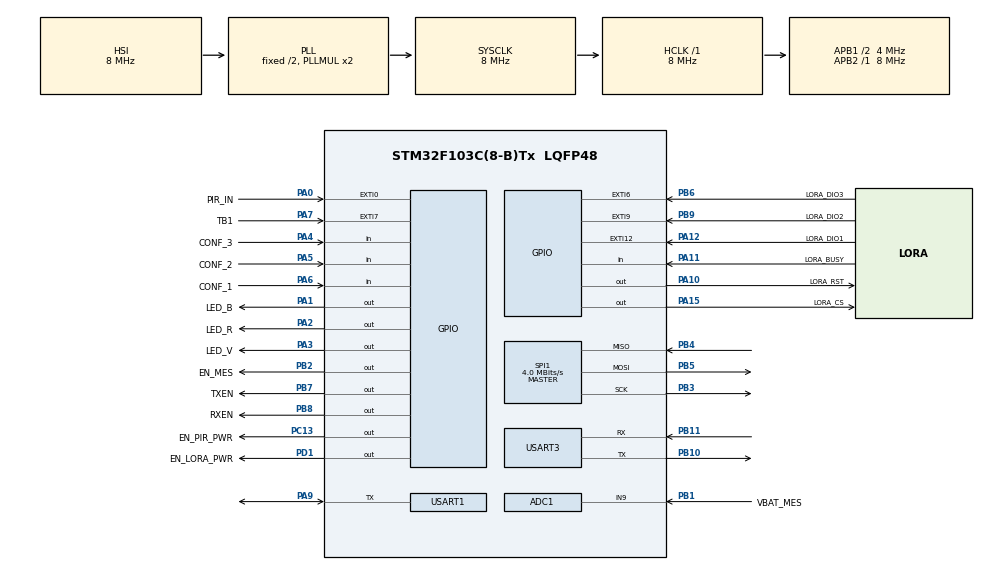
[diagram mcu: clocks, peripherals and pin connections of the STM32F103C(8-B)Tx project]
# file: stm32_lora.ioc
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ADC1.Channel-3\#ChannelRegularConversion=ADC_CHANNEL_9
ADC1.NbrOfConversionFlag=1
ADC1.Rank-3\#ChannelRegularConversion=1
ADC1.SamplingTime-3\#ChannelRegularConversion=ADC_SAMPLETIME_1CYCLE_5
ADC1.master=1
FREERTOS.Events01=eventFlag,Static,myEvent01ControlBlock
FREERTOS.Queues01=myQueue01,16,uint16_t,0,Dynamic,NULL,NULL
FREERTOS.Tasks01=app,24,128,AppTask,Default,NULL,Dynamic,NULL,NULL;radio,8,256,RadioTask,Default,NULL,Dynamic,NULL,NULL
FREERTOS.configUSE_NEWLIB_REENTRANT=1
Mcu.Family=STM32F1
Mcu.Name=STM32F103C(8-B)Tx
Mcu.Package=LQFP48
NVIC.EXTI0_IRQn=true\:5\:0\:false\:false\:true\:true\:true\:true\:true
NVIC.EXTI15_10_IRQn=true\:5\:0\:false\:false\:true\:true\:true\:true\:true
NVIC.EXTI9_5_IRQn=true\:5\:0\:false\:false\:true\:true\:true\:true\:true
NVIC.PriorityGroup=NVIC_PRIORITYGROUP_4
NVIC.RTC_IRQn=true\:5\:0\:false\:false\:true\:true\:true\:true\:true
NVIC.SPI1_IRQn=true\:5\:0\:false\:false\:true\:true\:true\:true\:true
NVIC.TIM4_IRQn=true\:15\:0\:false\:false\:true\:false\:false\:true\:true
NVIC.TimeBase=TIM4_IRQn
NVIC.TimeBaseIP=TIM4
NVIC.USART3_IRQn=true\:5\:0\:false\:false\:true\:true\:true\:true\:true
PA0-WKUP.GPIO_Label=PIR_IN
PA0-WKUP.Signal=GPXTI0
PA1.GPIO_Label=LED_B
PA1.GPIO_ModeDefaultOutputPP=GPIO_MODE_OUTPUT_OD
PA1.GPIO_PuPd=GPIO_NOPULL
PA1.PinState=GPIO_PIN_SET
PA1.Signal=GPIO_Output
PA10.GPIO_Label=LORA_RST
PA10.GPIO_ModeDefaultOutputPP=GPIO_MODE_OUTPUT_OD
PA10.GPIO_PuPd=GPIO_NOPULL
PA10.Signal=GPIO_Output
PA11.GPIO_Label=LORA_BUSY
PA11.Signal=GPIO_Input
PA12.GPIO_Label=LORA_DIO1
PA12.GPIO_ModeDefaultEXTI=GPIO_MODE_IT_RISING
PA12.GPIO_PuPd=GPIO_PULLUP
PA12.Signal=GPXTI12
PA13.Mode=Serial_Wire
PA13.Signal=SYS_JTMS-SWDIO
PA14.Mode=Serial_Wire
PA14.Signal=SYS_JTCK-SWCLK
PA15.GPIO_Label=LORA_CS
PA15.Signal=GPIO_Output
PA2.GPIO_Label=LED_R
PA2.GPIO_ModeDefaultOutputPP=GPIO_MODE_OUTPUT_OD
PA2.GPIO_PuPd=GPIO_NOPULL
PA2.PinState=GPIO_PIN_SET
PA2.Signal=GPIO_Output
PA3.GPIO_Label=LED_V
PA3.GPIO_ModeDefaultOutputPP=GPIO_MODE_OUTPUT_OD
PA3.GPIO_PuPd=GPIO_NOPULL
PA3.PinState=GPIO_PIN_SET
PA3.Signal=GPIO_Output
PA4.GPIO_Label=CONF_3
PA4.GPIO_PuPd=GPIO_PULLUP
PA4.Signal=GPIO_Input
PA5.GPIO_Label=CONF_2
PA5.GPIO_PuPd=GPIO_PULLUP
PA5.Signal=GPIO_Input
PA6.GPIO_Label=CONF_1
PA6.Signal=GPIO_Input
PA7.GPIO_Label=TB1
PA7.Signal=GPXTI7
PA9.Mode=Half_duplex(single_wire_mode)
PA9.Signal=USART1_TX
PB1.GPIO_Label=VBAT_MES
PB1.Signal=ADCx_IN9
PB10.Mode=Asynchronous
PB10.Signal=USART3_TX
PB11.Mode=Asynchronous
PB11.Signal=USART3_RX
PB2.GPIO_Label=EN_MES
PB2.Signal=GPIO_Output
PB3.Mode=Full_Duplex_Master
PB3.Signal=SPI1_SCK
PB4.Mode=Full_Duplex_Master
PB4.Signal=SPI1_MISO
PB5.Mode=Full_Duplex_Master
PB5.Signal=SPI1_MOSI
PB6.GPIO_Label=LORA_DIO3
PB6.GPIO_PuPd=GPIO_PULLUP
PB6.Signal=GPXTI6
PB7.GPIO_Label=TXEN
PB7.Signal=GPIO_Output
PB8.GPIO_Label=RXEN
PB8.Signal=GPIO_Output
PB9.GPIO_Label=LORA_DIO2
PB9.GPIO_PuPd=GPIO_PULLUP
PB9.Signal=GPXTI9
PC13-TAMPER-RTC.GPIO_Label=EN_PIR_PWR
PC13-TAMPER-RTC.Signal=GPIO_Output
PC14-OSC32_IN.Mode=LSE-External-Oscillator
PC14-OSC32_IN.Signal=RCC_OSC32_IN
PC15-OSC32_OUT.Mode=LSE-External-Oscillator
PC15-OSC32_OUT.Signal=RCC_OSC32_OUT
PD1-OSC_OUT.GPIO_Label=EN_LORA_PWR
PD1-OSC_OUT.Signal=GPIO_Output
ProjectManager.HeapSize=0x200
ProjectManager.StackSize=0x400
ProjectManager.TargetToolchain=STM32CubeIDE
RCC.AHBFreq_Value=8000000
RCC.APB1CLKDivider=RCC_HCLK_DIV2
RCC.APB1Freq_Value=4000000
RCC.APB1TimFreq_Value=8000000
RCC.APB2Freq_Value=8000000
RCC.APB2TimFreq_Value=8000000
RCC.HCLKFreq_Value=8000000
RCC.RTCClockSelection=RCC_RTCCLKSOURCE_LSE
RCC.SYSCLKFreq_VALUE=8000000
RCC.SYSCLKSource=RCC_SYSCLKSOURCE_PLLCLK
RCC.USBFreq_Value=8000000
SH.ADCx_IN9.0=ADC1_IN9,IN9
SPI1.BaudRatePrescaler=SPI_BAUDRATEPRESCALER_2
SPI1.CalculateBaudRate=4.0 MBits/s
SPI1.Direction=SPI_DIRECTION_2LINES
SPI1.Mode=SPI_MODE_MASTER
SPI1.VirtualType=VM_MASTER
USART1.VirtualMode=VM_ASYNC
USART3.VirtualMode=VM_ASYNC
VP_FREERTOS_VS_CMSIS_V2.Mode=CMSIS_V2
VP_RTC_No_RTC_Output.Mode=RTC_OUT_NO
VP_RTC_VS_RTC_Activate.Mode=RTC_Enabled
VP_RTC_VS_RTC_Calendar.Mode=RTC_Calendar
VP_SYS_VS_tim4.Mode=TIM4
board=custom

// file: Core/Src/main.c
/* USER CODE BEGIN Header */
/**
  ******************************************************************************
  * @file           : main.c
  * @brief          : Main program body
  ******************************************************************************
  * @attention
  *
  * Copyright (c) 2024 STMicroelectronics.
  * All rights reserved.
  *
  * This software is licensed under terms that can be found in the LICENSE file
  * in the root directory of this software component.
  * If no LICENSE file comes with this software, it is provided AS-IS.
  *
  ******************************************************************************
  */
/* USER CODE END Header */
#include "main.h"
#include "cmsis_os.h"

/* USER CODE BEGIN Includes */
#include <stdlib.h>
#include "stdbool.h"
#include "printf.h"
#include "bsp.h"
#include "main.h"
#include "lora_transceiver.h"
/* USER CODE END Includes */

typedef StaticEventGroup_t osStaticEventGroupDef_t;

/* USER CODE BEGIN PD */
#define BUILD_TIME                  __TIME__
#define RX_BUFFER_SIZE              128

/* USER CODE END PD */

ADC_HandleTypeDef hadc1;

RTC_HandleTypeDef hrtc;

SPI_HandleTypeDef hspi1;

UART_HandleTypeDef huart1;
UART_HandleTypeDef huart3;

/* Definitions for app */
osThreadId_t appHandle;
const osThreadAttr_t app_attributes = {
  .name = "app",
  .stack_size = 128 * 4,
  .priority = (osPriority_t) osPriorityNormal,
};
/* Definitions for radio */
osThreadId_t radioHandle;
const osThreadAttr_t radio_attributes = {
  .name = "radio",
  .stack_size = 256 * 4,
  .priority = (osPriority_t) osPriorityLow,
};
/* Definitions for myQueue01 */
osMessageQueueId_t loraQueueHandle;
const osMessageQueueAttr_t myQueue01_attributes = {
  .name = "myQueue01"
};
/* Definitions for eventFlag */
osEventFlagsId_t eventFlagHandle;
osStaticEventGroupDef_t myEvent01ControlBlock;
const osEventFlagsAttr_t eventFlag_attributes = {
  .name = "eventFlag",
  .cb_mem = &myEvent01ControlBlock,
  .cb_size = sizeof(myEvent01ControlBlock),
};
/* USER CODE BEGIN PV */
static uint8_t rxBuffer[RX_BUFFER_SIZE];
static volatile bool uartEventFlag = false;
static volatile bool secondFlag = false;
static volatile bool minFlag = false;
static volatile uint16_t size = 0;
static RTC_DateTypeDef date;
static RTC_TimeTypeDef time;
/* USER CODE END PV */

void SystemClock_Config(void);
static void MX_GPIO_Init(void);
static void MX_RTC_Init(void);
static void MX_SPI1_Init(void);
static void MX_ADC1_Init(void);
static void MX_USART3_UART_Init(void);
static void MX_USART1_UART_Init(void);
void AppTask(void *argument);
void RadioTask(void *argument);

/* USER CODE BEGIN PFP */
void _putchar(char character)
{
    // send char to console etc.
    HAL_UART_Transmit(&huart3,(uint8_t *)&character,1,HAL_MAX_DELAY);
}
/* USER CODE END PFP */

int main(void)
{
  /* USER CODE BEGIN 1 */
  uint8_t hour,min,second;
  uint8_t numbers[3];
  numbers[2] = '\0';

  /* USER CODE END 1 */

  /* MCU Configuration--------------------------------------------------------*/

  /* Reset of all peripherals, Initializes the Flash interface and the Systick. */
  HAL_Init();

  /* Configure the system clock */
  SystemClock_Config();

  /* Initialize all configured peripherals */
  MX_GPIO_Init();
  MX_RTC_Init();
  MX_SPI1_Init();
  MX_ADC1_Init();
  MX_USART3_UART_Init();
  MX_USART1_UART_Init();
  /* USER CODE BEGIN 2 */
  printf_("Start lora test application %s\n",BUILD_TIME);
  numbers[0] = BUILD_TIME[0];
  numbers[1] = BUILD_TIME[1];
  time.Hours = atoi(numbers);
  numbers[0] = BUILD_TIME[3];
  numbers[1] = BUILD_TIME[4];
  time.Minutes = atoi(numbers);
  numbers[0] = BUILD_TIME[6];
  numbers[1] = BUILD_TIME[7];
  time.Seconds = atoi(numbers);
  //scanf(BUILD_TIME,"%hhu:%hhu:%hhu",&time.Hours,&time.Minutes,&time.Seconds);
  HAL_RTC_SetTime(&hrtc,&time,RTC_FORMAT_BIN);
  HAL_RTCEx_SetSecond_IT(&hrtc);

  printf_("%u:%u:%u\n",time.Hours,time.Minutes,time.Seconds);
    LED_B(LED_ON);
    HAL_Delay(100); // Bleu
    LED_G(LED_ON);
    HAL_Delay(100); // turquoise
    LED_B(LED_OFF);
    HAL_Delay(100); // Vert
    LED_R(LED_ON);
    HAL_Delay(100); // Orange
    LED_G(LED_OFF);
    HAL_Delay(100); // Rouge
    LED_B(LED_ON);
    HAL_Delay(100); // Rose
    LED_G(LED_ON); // blanc
    HAL_Delay(100); // Rose
    LED_G(LED_OFF);
    LED_B(LED_OFF);
    LED_R(LED_OFF);

    //HAL_GPIO_WritePin(TXEN_GPIO_Port,TXEN_Pin,GPIO_PIN_SET);
    //HAL_GPIO_WritePin(RXEN_GPIO_Port,RXEN_Pin,GPIO_PIN_RESET);

  /* USER CODE END 2 */

  /* Init scheduler */
  osKernelInitialize();

  /* Create the queue(s) */
  /* creation of myQueue01 */
    loraQueueHandle = osMessageQueueNew (16, sizeof(uint8_t)*32, &myQueue01_attributes);

  /* Create the thread(s) */
  /* creation of app */
  appHandle = osThreadNew(AppTask, NULL, &app_attributes);

  /* creation of radio */
  radioHandle = osThreadNew(lora_task, NULL, &radio_attributes);

  /* Create the event(s) */
  /* creation of eventFlag */
  eventFlagHandle = osEventFlagsNew(&eventFlag_attributes);

  /* Start scheduler */
  osKernelStart();

  /* We should never get here as control is now taken by the scheduler */
  /* Infinite loop */
  /* USER CODE BEGIN WHILE */

  HAL_Delay(500);
  message_t message;

  while (1)
  {
      if(uartEventFlag == true)
      {
          uartEventFlag = false;
          HAL_RTC_GetTime(&hrtc,&time,RTC_FORMAT_BIN);
          rxBuffer[size] = '\0';
          size = 0;
          printf_("%s %u:%u:%u\n",rxBuffer,time.Hours,time.Minutes,time.Seconds);
          //HAL_GPIO_WritePin(LED_V_GPIO_Port,LED_V_Pin,GPIO_PIN_RESET);
          HAL_Delay(500);
      }

    /* USER CODE END WHILE */

  }
}

void SystemClock_Config(void)
{
  RCC_OscInitTypeDef RCC_OscInitStruct = {0};
  RCC_ClkInitTypeDef RCC_ClkInitStruct = {0};
  RCC_PeriphCLKInitTypeDef PeriphClkInit = {0};

  /** Initializes the RCC Oscillators according to the specified parameters
  * in the RCC_OscInitTypeDef structure.
  */
  RCC_OscInitStruct.OscillatorType = RCC_OSCILLATORTYPE_HSI|RCC_OSCILLATORTYPE_LSE;
  RCC_OscInitStruct.LSEState = RCC_LSE_ON;
  RCC_OscInitStruct.HSIState = RCC_HSI_ON;
  RCC_OscInitStruct.HSICalibrationValue = RCC_HSICALIBRATION_DEFAULT;
  RCC_OscInitStruct.PLL.PLLState = RCC_PLL_ON;
  RCC_OscInitStruct.PLL.PLLSource = RCC_PLLSOURCE_HSI_DIV2;
  RCC_OscInitStruct.PLL.PLLMUL = RCC_PLL_MUL2;
  if (HAL_RCC_OscConfig(&RCC_OscInitStruct) != HAL_OK)
  {
    Error_Handler();
  }

  /** Initializes the CPU, AHB and APB buses clocks
  */
  RCC_ClkInitStruct.ClockType = RCC_CLOCKTYPE_HCLK|RCC_CLOCKTYPE_SYSCLK
                              |RCC_CLOCKTYPE_PCLK1|RCC_CLOCKTYPE_PCLK2;
  RCC_ClkInitStruct.SYSCLKSource = RCC_SYSCLKSOURCE_PLLCLK;
  RCC_ClkInitStruct.AHBCLKDivider = RCC_SYSCLK_DIV1;
  RCC_ClkInitStruct.APB1CLKDivider = RCC_HCLK_DIV2;
  RCC_ClkInitStruct.APB2CLKDivider = RCC_HCLK_DIV1;

  if (HAL_RCC_ClockConfig(&RCC_ClkInitStruct, FLASH_LATENCY_0) != HAL_OK)
  {
    Error_Handler();
  }
  PeriphClkInit.PeriphClockSelection = RCC_PERIPHCLK_RTC|RCC_PERIPHCLK_ADC;
  PeriphClkInit.RTCClockSelection = RCC_RTCCLKSOURCE_LSE;
  PeriphClkInit.AdcClockSelection = RCC_ADCPCLK2_DIV2;
  if (HAL_RCCEx_PeriphCLKConfig(&PeriphClkInit) != HAL_OK)
  {
    Error_Handler();
  }
}

static void MX_ADC1_Init(void)
{

  ADC_ChannelConfTypeDef sConfig = {0};

  /** Common config
  */
  hadc1.Instance = ADC1;
  hadc1.Init.ScanConvMode = ADC_SCAN_DISABLE;
  hadc1.Init.ContinuousConvMode = DISABLE;
  hadc1.Init.DiscontinuousConvMode = DISABLE;
  hadc1.Init.ExternalTrigConv = ADC_SOFTWARE_START;
  hadc1.Init.DataAlign = ADC_DATAALIGN_RIGHT;
  hadc1.Init.NbrOfConversion = 1;
  if (HAL_ADC_Init(&hadc1) != HAL_OK)
  {
    Error_Handler();
  }

  /** Configure Regular Channel
  */
  sConfig.Channel = ADC_CHANNEL_9;
  sConfig.Rank = ADC_REGULAR_RANK_1;
  sConfig.SamplingTime = ADC_SAMPLETIME_1CYCLE_5;
  if (HAL_ADC_ConfigChannel(&hadc1, &sConfig) != HAL_OK)
  {
    Error_Handler();
  }

}

static void MX_RTC_Init(void)
{

  RTC_TimeTypeDef sTime = {0};
  RTC_DateTypeDef DateToUpdate = {0};

  /** Initialize RTC Only
  */
  hrtc.Instance = RTC;
  hrtc.Init.AsynchPrediv = RTC_AUTO_1_SECOND;
  hrtc.Init.OutPut = RTC_OUTPUTSOURCE_NONE;
  if (HAL_RTC_Init(&hrtc) != HAL_OK)
  {
    Error_Handler();
  }

  /** Initialize RTC and set the Time and Date
  */
  sTime.Hours = 0x0;
  sTime.Minutes = 0x0;
  sTime.Seconds = 0x0;

  if (HAL_RTC_SetTime(&hrtc, &sTime, RTC_FORMAT_BCD) != HAL_OK)
  {
    Error_Handler();
  }
  DateToUpdate.WeekDay = RTC_WEEKDAY_MONDAY;
  DateToUpdate.Month = RTC_MONTH_JANUARY;
  DateToUpdate.Date = 0x1;
  DateToUpdate.Year = 0x0;

  if (HAL_RTC_SetDate(&hrtc, &DateToUpdate, RTC_FORMAT_BCD) != HAL_OK)
  {
    Error_Handler();
  }

}

static void MX_SPI1_Init(void)
{

  /* SPI1 parameter configuration*/
  hspi1.Instance = SPI1;
  hspi1.Init.Mode = SPI_MODE_MASTER;
  hspi1.Init.Direction = SPI_DIRECTION_2LINES;
  hspi1.Init.DataSize = SPI_DATASIZE_8BIT;
  hspi1.Init.CLKPolarity = SPI_POLARITY_LOW;
  hspi1.Init.CLKPhase = SPI_PHASE_1EDGE;
  hspi1.Init.NSS = SPI_NSS_SOFT;
  hspi1.Init.BaudRatePrescaler = SPI_BAUDRATEPRESCALER_2;
  hspi1.Init.FirstBit = SPI_FIRSTBIT_MSB;
  hspi1.Init.TIMode = SPI_TIMODE_DISABLE;
  hspi1.Init.CRCCalculation = SPI_CRCCALCULATION_DISABLE;
  hspi1.Init.CRCPolynomial = 10;
  if (HAL_SPI_Init(&hspi1) != HAL_OK)
  {
    Error_Handler();
  }

}

static void MX_USART1_UART_Init(void)
{

  huart1.Instance = USART1;
  huart1.Init.BaudRate = 115200;
  huart1.Init.WordLength = UART_WORDLENGTH_8B;
  huart1.Init.StopBits = UART_STOPBITS_1;
  huart1.Init.Parity = UART_PARITY_NONE;
  huart1.Init.Mode = UART_MODE_TX_RX;
  huart1.Init.HwFlowCtl = UART_HWCONTROL_NONE;
  huart1.Init.OverSampling = UART_OVERSAMPLING_16;
  if (HAL_HalfDuplex_Init(&huart1) != HAL_OK)
  {
    Error_Handler();
  }

}

static void MX_USART3_UART_Init(void)
{

  huart3.Instance = USART3;
  huart3.Init.BaudRate = 115200;
  huart3.Init.WordLength = UART_WORDLENGTH_8B;
  huart3.Init.StopBits = UART_STOPBITS_1;
  huart3.Init.Parity = UART_PARITY_NONE;
  huart3.Init.Mode = UART_MODE_TX_RX;
  huart3.Init.HwFlowCtl = UART_HWCONTROL_NONE;
  huart3.Init.OverSampling = UART_OVERSAMPLING_16;
  if (HAL_UART_Init(&huart3) != HAL_OK)
  {
    Error_Handler();
  }

}

static void MX_GPIO_Init(void)
{
  GPIO_InitTypeDef GPIO_InitStruct = {0};

  /* GPIO Ports Clock Enable */
  __HAL_RCC_GPIOC_CLK_ENABLE();
  __HAL_RCC_GPIOD_CLK_ENABLE();
  __HAL_RCC_GPIOA_CLK_ENABLE();
  __HAL_RCC_GPIOB_CLK_ENABLE();

  /*Configure GPIO pin Output Level */
  HAL_GPIO_WritePin(EN_PIR_PWR_GPIO_Port, EN_PIR_PWR_Pin, GPIO_PIN_RESET);

  /*Configure GPIO pin Output Level */
  HAL_GPIO_WritePin(EN_LORA_PWR_GPIO_Port, EN_LORA_PWR_Pin, GPIO_PIN_RESET);

  /*Configure GPIO pin Output Level */
  HAL_GPIO_WritePin(GPIOA, LED_B_Pin|LED_R_Pin|LED_V_Pin, GPIO_PIN_SET);

  /*Configure GPIO pin Output Level */
  HAL_GPIO_WritePin(GPIOB, EN_MES_Pin|TXEN_Pin|RXEN_Pin, GPIO_PIN_RESET);

  /*Configure GPIO pin Output Level */
  HAL_GPIO_WritePin(GPIOA, LORA_RST_Pin|LORA_CS_Pin, GPIO_PIN_RESET);

  /*Configure GPIO pin : EN_PIR_PWR_Pin */
  GPIO_InitStruct.Pin = EN_PIR_PWR_Pin;
  GPIO_InitStruct.Mode = GPIO_MODE_OUTPUT_PP;
  GPIO_InitStruct.Pull = GPIO_NOPULL;
  GPIO_InitStruct.Speed = GPIO_SPEED_FREQ_LOW;
  HAL_GPIO_Init(EN_PIR_PWR_GPIO_Port, &GPIO_InitStruct);

  /*Configure GPIO pin : EN_LORA_PWR_Pin */
  GPIO_InitStruct.Pin = EN_LORA_PWR_Pin;
  GPIO_InitStruct.Mode = GPIO_MODE_OUTPUT_PP;
  GPIO_InitStruct.Pull = GPIO_NOPULL;
  GPIO_InitStruct.Speed = GPIO_SPEED_FREQ_LOW;
  HAL_GPIO_Init(EN_LORA_PWR_GPIO_Port, &GPIO_InitStruct);

  /*Configure GPIO pins : PIR_IN_Pin TB1_Pin */
  GPIO_InitStruct.Pin = PIR_IN_Pin|TB1_Pin;
  GPIO_InitStruct.Mode = GPIO_MODE_IT_RISING;
  GPIO_InitStruct.Pull = GPIO_NOPULL;
  HAL_GPIO_Init(GPIOA, &GPIO_InitStruct);

  /*Configure GPIO pins : LED_B_Pin LED_R_Pin LED_V_Pin LORA_RST_Pin */
  GPIO_InitStruct.Pin = LED_B_Pin|LED_R_Pin|LED_V_Pin|LORA_RST_Pin;
  GPIO_InitStruct.Mode = GPIO_MODE_OUTPUT_OD;
  GPIO_InitStruct.Pull = GPIO_NOPULL;
  GPIO_InitStruct.Speed = GPIO_SPEED_FREQ_LOW;
  HAL_GPIO_Init(GPIOA, &GPIO_InitStruct);

  /*Configure GPIO pins : CONF_3_Pin CONF_2_Pin */
  GPIO_InitStruct.Pin = CONF_3_Pin|CONF_2_Pin;
  GPIO_InitStruct.Mode = GPIO_MODE_INPUT;
  GPIO_InitStruct.Pull = GPIO_PULLUP;
  HAL_GPIO_Init(GPIOA, &GPIO_InitStruct);

  /*Configure GPIO pins : CONF_1_Pin LORA_BUSY_Pin */
  GPIO_InitStruct.Pin = CONF_1_Pin|LORA_BUSY_Pin;
  GPIO_InitStruct.Mode = GPIO_MODE_INPUT;
  GPIO_InitStruct.Pull = GPIO_NOPULL;
  HAL_GPIO_Init(GPIOA, &GPIO_InitStruct);

  /*Configure GPIO pins : EN_MES_Pin TXEN_Pin RXEN_Pin */
  GPIO_InitStruct.Pin = EN_MES_Pin|TXEN_Pin|RXEN_Pin;
  GPIO_InitStruct.Mode = GPIO_MODE_OUTPUT_PP;
  GPIO_InitStruct.Pull = GPIO_NOPULL;
  GPIO_InitStruct.Speed = GPIO_SPEED_FREQ_LOW;
  HAL_GPIO_Init(GPIOB, &GPIO_InitStruct);

  /*Configure GPIO pin : LORA_DIO1_Pin */
  GPIO_InitStruct.Pin = LORA_DIO1_Pin;
  GPIO_InitStruct.Mode = GPIO_MODE_IT_RISING;
  GPIO_InitStruct.Pull = GPIO_PULLUP;
  HAL_GPIO_Init(LORA_DIO1_GPIO_Port, &GPIO_InitStruct);

  /*Configure GPIO pin : LORA_CS_Pin */
  GPIO_InitStruct.Pin = LORA_CS_Pin;
  GPIO_InitStruct.Mode = GPIO_MODE_OUTPUT_PP;
  GPIO_InitStruct.Pull = GPIO_NOPULL;
  GPIO_InitStruct.Speed = GPIO_SPEED_FREQ_LOW;
  HAL_GPIO_Init(LORA_CS_GPIO_Port, &GPIO_InitStruct);

  /*Configure GPIO pins : LORA_DIO3_Pin LORA_DIO2_Pin */
  GPIO_InitStruct.Pin = LORA_DIO3_Pin|LORA_DIO2_Pin;
  GPIO_InitStruct.Mode = GPIO_MODE_IT_RISING;
  GPIO_InitStruct.Pull = GPIO_PULLUP;
  HAL_GPIO_Init(GPIOB, &GPIO_InitStruct);

  /*Configure peripheral I/O remapping */
  __HAL_AFIO_REMAP_PD01_ENABLE();

  /* EXTI interrupt init*/
  HAL_NVIC_SetPriority(EXTI0_IRQn, 5, 0);
  HAL_NVIC_EnableIRQ(EXTI0_IRQn);

  HAL_NVIC_SetPriority(EXTI9_5_IRQn, 5, 0);
  HAL_NVIC_EnableIRQ(EXTI9_5_IRQn);

  HAL_NVIC_SetPriority(EXTI15_10_IRQn, 5, 0);
  HAL_NVIC_EnableIRQ(EXTI15_10_IRQn);

}

/* USER CODE BEGIN 4 */

void HAL_UARTEx_RxEventCallback(UART_HandleTypeDef *huart, uint16_t Size)
{
    if(huart->Instance == USART3)
    {
        uartEventFlag = true;
        size = Size;
        HAL_UARTEx_ReceiveToIdle_IT(&huart3,rxBuffer,RX_BUFFER_SIZE);
    }
}

/* USER CODE END 4 */

void HAL_TIM_PeriodElapsedCallback(TIM_HandleTypeDef *htim)
{
  if (htim->Instance == TIM4) {
    HAL_IncTick();
  }
}

void Error_Handler(void)
{
  __disable_irq();
  while (1)
  {
  }
}
